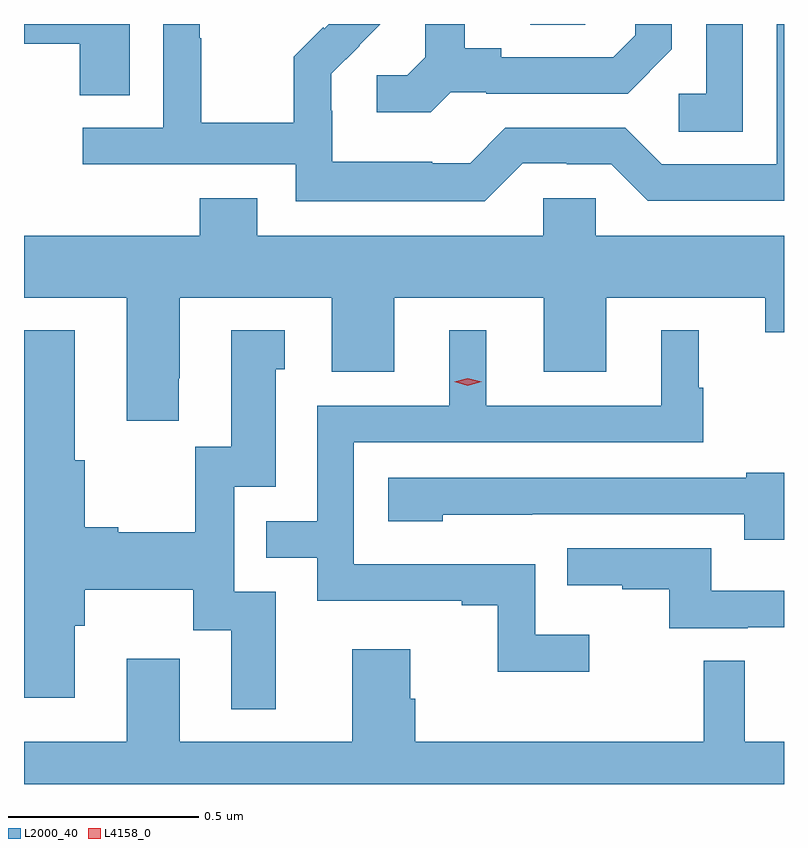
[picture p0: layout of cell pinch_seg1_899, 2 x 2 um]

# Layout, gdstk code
import gdstk
lib = gdstk.Library(unit=1e-6, precision=1e-09)
def R(c, l, rs):  # rectangles x0, y0, x1, y1
    for r in rs: c.add(gdstk.rectangle(r[:2], r[2:], *l))
def P(c, l, *ps):  # polygons
    for p in ps: c.add(gdstk.Polygon(p, *l))
L2000_40 = (2000, 40)
L4158_0 = (4158, 0)

pinch_seg1_899 = lib.new_cell('pinch_seg1_899')
R(pinch_seg1_899, L2000_40, [(598.115,533.803,598.26,533.805)])
P(pinch_seg1_899, L2000_40, [(597.061,533.805),(596.783,533.805),(596.783,533.753),(596.93,533.753),(596.93,533.617),(597.061,533.617)],
  [(598.095,533.439),(598.211,533.439),(598.211,533.436),(598.329,533.436),(598.425,533.34),(598.783,533.34),(598.783,533.805),(598.764,533.805),(598.764,533.436),(598.461,533.436),(598.365,533.532),(598.05,533.532),(597.957,533.439),(597.857,533.439),(597.857,533.443),(597.594,533.443),(597.594,533.577),(597.592,533.577),(597.592,533.674),(597.666,533.748),(597.665,533.749),(597.721,533.805),(597.585,533.805),(597.573,533.793),(597.57,533.796),(597.493,533.719),(597.493,533.545),(597.249,533.545),(597.249,533.768),(597.246,533.768),(597.246,533.805),(597.15,533.805),(597.15,533.532),(596.937,533.532),(596.937,533.436),(597.498,533.436),(597.498,533.339),(597.995,533.339)],
  [(598.674,533.805),(598.578,533.805),(598.578,533.622),(598.506,533.622),(598.506,533.521),(598.674,533.521)],
  [(597.906,533.625),(598,533.625),(598,533.622),(598.372,533.622),(598.488,533.738),(598.488,533.805),(598.391,533.805),(598.391,533.775),(598.334,533.718),(598.039,533.718),(598.039,533.741),(597.943,533.741),(597.943,533.805),(597.839,533.805),(597.839,533.717),(597.792,533.67),(597.711,533.67),(597.711,533.573),(597.854,533.573)],
  [(597.19,532.873),(597.193,532.873),(597.193,533.084),(597.593,533.084),(597.593,532.89),(597.757,532.89),(597.757,533.084),(598.151,533.084),(598.151,532.89),(598.315,532.89),(598.315,533.084),(598.733,533.084),(598.733,532.994),(598.783,532.994),(598.783,533.248),(598.287,533.248),(598.287,533.346),(598.149,533.346),(598.149,533.248),(597.397,533.248),(597.397,533.347),(597.245,533.347),(597.245,533.248),(596.783,533.248),(596.783,533.084),(597.053,533.084),(597.053,532.761),(597.19,532.761)],
  [(598.27,532.198),(598.128,532.198),(598.128,532.383),(597.651,532.383),(597.651,532.704),(598.57,532.704),(598.57,532.848),(598.558,532.848),(598.558,532.999),(598.46,532.999),(598.46,532.8),(598,532.8),(598,532.999),(597.902,532.999),(597.902,532.8),(597.555,532.8),(597.555,532.497),(597.421,532.497),(597.421,532.401),(597.555,532.401),(597.555,532.287),(597.935,532.287),(597.935,532.275),(598.03,532.275),(598.03,532.1),(598.27,532.1)],
  [(597.445,532.311),(597.336,532.311),(597.336,532.587),(597.445,532.587),(597.445,532.896),(597.469,532.896),(597.469,532.999),(597.329,532.999),(597.329,532.692),(597.233,532.692),(597.233,532.468),(597.031,532.468),(597.031,532.481),(596.943,532.481),(596.943,532.657),(596.917,532.657),(596.917,532.999),(596.783,532.999),(596.783,532.032),(596.917,532.032),(596.917,532.221),(596.943,532.221),(596.943,532.316),(597.228,532.316),(597.228,532.21),(597.329,532.21),(597.329,532.002),(597.445,532.002)],
  [(598.783,532.624),(598.683,532.624),(598.683,532.611),(597.741,532.611),(597.741,532.496),(597.885,532.496),(597.885,532.514),(598.121,532.514),(598.121,532.515),(598.679,532.515),(598.679,532.448),(598.783,532.448)],
  [(598.688,532.218),(598.783,532.218),(598.783,532.313),(598.591,532.313),(598.591,532.425),(598.213,532.425),(598.213,532.328),(598.357,532.328),(598.357,532.317),(598.481,532.317),(598.481,532.215),(598.688,532.215)],
  [(598.783,531.916),(598.68,531.916),(598.68,532.13),(598.572,532.13),(598.572,531.916),(597.812,531.916),(597.812,532.029),(597.799,532.029),(597.799,532.159),(597.647,532.159),(597.647,531.916),(597.193,531.916),(597.193,532.135),(597.053,532.135),(597.053,531.916),(596.783,531.916),(596.783,531.805),(598.783,531.805)])
P(pinch_seg1_899, L4158_0, [(597.951,532.853),(597.915,532.863),(597.915,532.863),(597.915,532.864),(597.951,532.873),(597.987,532.864),(597.987,532.863),(597.987,532.863)])

lib.write_gds('pinch_seg1_899.gds')
